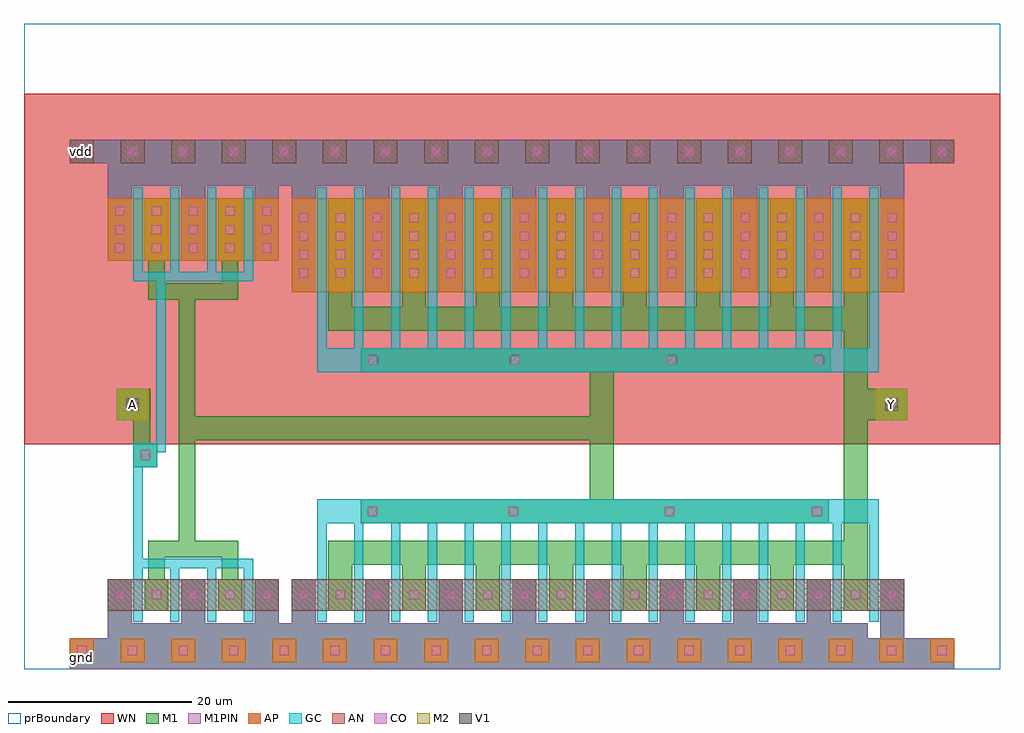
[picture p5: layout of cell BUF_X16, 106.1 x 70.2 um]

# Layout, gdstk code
import gdstk
lib = gdstk.Library(unit=1e-6, precision=1e-09)
def R(c, l, rs):  # rectangles x0, y0, x1, y1
    for r in rs: c.add(gdstk.rectangle(r[:2], r[2:], *l))
def A(c, l, x, y, w, h, nx, ny, dx, dy):  # array of equal rectangles
    R(c, l, [(x+i*dx, y+j*dy, x+i*dx+w, y+j*dy+h) for i in range(nx) for j in range(ny)])
def P(c, l, *ps):  # polygons
    for p in ps: c.add(gdstk.Polygon(p, *l))
AP = (3, 1)
AN = (3, 2)
GC = (8, 1)
CO = (11, 0)
M1 = (13, 0)
V1 = (19, 0)
M2 = (20, 0)
M1PIN = (48, 1)
WN = (140, 0)
prBoundary = (235, 4)

buf_x16 = lib.new_cell('BUF_X16')
A(buf_x16, AP, 5, 0.75, 2.6, 2.6, 18, 1, 5.5, 0)
R(buf_x16, AP, [(29.1,41,95.7,51.2), (9.1,44.4,27.7,51.2)])
A(buf_x16, AN, 5, 55, 2.6, 2.6, 18, 1, 5.5, 0)
R(buf_x16, AN, [(9.1,6.4,27.7,9.8), (29.1,6.4,95.7,9.8)])
P(buf_x16, GC, [(31.9,5.2),(31.9,18.5),(92.9,18.5),(92.9,5.2),(91.9,5.2),(91.9,15.9),(88.9,15.9),(88.9,5.2),(87.9,5.2),(87.9,15.9),(84.9,15.9),(84.9,5.2),(83.9,5.2),(83.9,15.9),(80.9,15.9),(80.9,5.2),(79.9,5.2),(79.9,15.9),(76.9,15.9),(76.9,5.2),(75.9,5.2),(75.9,15.9),(72.9,15.9),(72.9,5.2),(71.9,5.2),(71.9,15.9),(68.9,15.9),(68.9,5.2),(67.9,5.2),(67.9,15.9),(64.9,15.9),(64.9,5.2),(63.9,5.2),(63.9,15.9),(60.9,15.9),(60.9,5.2),(59.9,5.2),(59.9,15.9),(56.9,15.9),(56.9,5.2),(55.9,5.2),(55.9,15.9),(52.9,15.9),(52.9,5.2),(51.9,5.2),(51.9,15.9),(48.9,15.9),(48.9,5.2),(47.9,5.2),(47.9,15.9),(44.9,15.9),(44.9,5.2),(43.9,5.2),(43.9,15.9),(40.9,15.9),(40.9,5.2),(39.9,5.2),(39.9,15.9),(36.9,15.9),(36.9,5.2),(35.9,5.2),(35.9,15.9),(32.9,15.9),(32.9,5.2)],
  [(11.9,5.2),(11.9,24.6),(14.4,24.6),(14.4,42.2),(11.9,42.2),(11.9,52.4),(12.9,52.4),(12.9,43.2),(15.9,43.2),(15.9,52.4),(16.9,52.4),(16.9,43.2),(19.9,43.2),(19.9,52.4),(20.9,52.4),(20.9,43.2),(23.9,43.2),(23.9,52.4),(24.9,52.4),(24.9,42.2),(15.4,42.2),(15.4,23.6),(14.5,23.6),(14.5,22),(12.9,22),(12.9,12),(24.9,12),(24.9,5.2),(23.9,5.2),(23.9,11),(20.9,11),(20.9,5.2),(19.9,5.2),(19.9,11),(16.9,11),(16.9,5.2),(15.9,5.2),(15.9,11),(12.9,11),(12.9,5.2)],
  [(31.9,32.3),(31.9,52.4),(32.9,52.4),(32.9,34.9),(35.9,34.9),(35.9,52.4),(36.9,52.4),(36.9,34.9),(39.9,34.9),(39.9,52.4),(40.9,52.4),(40.9,34.9),(43.9,34.9),(43.9,52.4),(44.9,52.4),(44.9,34.9),(47.9,34.9),(47.9,52.4),(48.9,52.4),(48.9,34.9),(51.9,34.9),(51.9,52.4),(52.9,52.4),(52.9,34.9),(55.9,34.9),(55.9,52.4),(56.9,52.4),(56.9,34.9),(59.9,34.9),(59.9,52.4),(60.9,52.4),(60.9,34.9),(63.9,34.9),(63.9,52.4),(64.9,52.4),(64.9,34.9),(67.9,34.9),(67.9,52.4),(68.9,52.4),(68.9,34.9),(71.9,34.9),(71.9,52.4),(72.9,52.4),(72.9,34.9),(75.9,34.9),(75.9,52.4),(76.9,52.4),(76.9,34.9),(79.9,34.9),(79.9,52.4),(80.9,52.4),(80.9,34.9),(83.9,34.9),(83.9,52.4),(84.9,52.4),(84.9,34.9),(87.9,34.9),(87.9,52.4),(88.9,52.4),(88.9,34.9),(91.9,34.9),(91.9,52.4),(92.9,52.4),(92.9,32.3)])
A(buf_x16, CO, 5.8, 1.55, 1, 1, 18, 2, 5.5, 54.25)
A(buf_x16, CO, 9.9, 7.6, 1, 1, 22, 1, 4, 0)
A(buf_x16, CO, 29.9, 42.6, 1, 1, 17, 4, 4, 2)
A(buf_x16, CO, 9.9, 45.3, 1, 1, 5, 3, 4, 2)
R(buf_x16, CO, [(37.4,16.7,38.4,17.7), (52.7,16.7,53.7,17.7), (69.7,16.7,70.7,17.7), (85.7,16.7,86.7,17.7), (12.7,22.8,13.7,23.8), (37.4,33.1,38.4,34.1), (52.9,33.1,53.9,34.1), (69.9,33.1,70.9,34.1), (85.9,33.1,86.9,34.1)])
R(buf_x16, M1, [(5,2.6,9.1,3.4), (91.7,2.6,93.1,3.4), (95.7,2.6,101.1,3.4)])
P(buf_x16, M1, [(5,0),(5,2.6),(9.1,2.6),(9.1,9.8),(11.7,9.8),(11.7,5),(17.1,5),(17.1,9.8),(19.7,9.8),(19.7,5),(25.1,5),(25.1,9.8),(27.7,9.8),(27.7,5),(29.1,5),(29.1,9.8),(31.7,9.8),(31.7,5),(37.1,5),(37.1,9.8),(39.7,9.8),(39.7,5),(45.1,5),(45.1,9.8),(47.7,9.8),(47.7,5),(53.1,5),(53.1,9.8),(55.7,9.8),(55.7,5),(61.1,5),(61.1,9.8),(63.7,9.8),(63.7,5),(69.1,5),(69.1,9.8),(71.7,9.8),(71.7,5),(77.1,5),(77.1,9.8),(79.7,9.8),(79.7,5),(85.1,5),(85.1,9.8),(87.7,9.8),(87.7,5),(91.7,5),(91.7,2.6),(93.1,2.6),(93.1,9.8),(95.7,9.8),(95.7,2.6),(101.1,2.6),(101.1,0)],
  [(11.9,22),(11.9,27.1),(10.1,27.1),(10.1,30.5),(13.7,30.5),(13.7,24.6),(14.5,24.6),(14.5,22)],
  [(13.1,6.4),(13.1,9.8),(13.5,9.8),(13.5,14),(16.8,14),(16.8,40.2),(13.5,40.2),(13.5,44.4),(13.1,44.4),(13.1,51.2),(15.7,51.2),(15.7,44.4),(15.3,44.4),(15.3,42),(21.5,42),(21.5,44.4),(21.1,44.4),(21.1,51.2),(23.7,51.2),(23.7,44.4),(23.3,44.4),(23.3,40.2),(18.6,40.2),(18.6,27.5),(61.5,27.5),(61.5,32.3),(36.6,32.3),(36.6,34.9),(87.7,34.9),(87.7,32.3),(64.1,32.3),(64.1,18.5),(87.5,18.5),(87.5,15.9),(36.6,15.9),(36.6,18.5),(61.5,18.5),(61.5,24.9),(18.6,24.9),(18.6,14),(23.3,14),(23.3,9.8),(23.7,9.8),(23.7,6.4),(21.1,6.4),(21.1,9.8),(21.5,9.8),(21.5,12.2),(15.3,12.2),(15.3,9.8),(15.7,9.8),(15.7,6.4)],
  [(33.1,6.4),(33.1,14),(89.1,14),(89.1,36.8),(33.1,36.8),(33.1,51.2),(35.7,51.2),(35.7,39.4),(41.1,39.4),(41.1,51.2),(43.7,51.2),(43.7,39.4),(49.1,39.4),(49.1,51.2),(51.7,51.2),(51.7,39.4),(57.1,39.4),(57.1,51.2),(59.7,51.2),(59.7,39.4),(65.1,39.4),(65.1,51.2),(67.7,51.2),(67.7,39.4),(73.1,39.4),(73.1,51.2),(75.7,51.2),(75.7,39.4),(81.1,39.4),(81.1,51.2),(83.7,51.2),(83.7,39.4),(89.1,39.4),(89.1,51.2),(91.7,51.2),(91.7,30.5),(96,30.5),(96,27.1),(91.7,27.1),(91.7,6.4),(89.1,6.4),(89.1,11.4),(83.7,11.4),(83.7,6.4),(81.1,6.4),(81.1,11.4),(75.7,11.4),(75.7,6.4),(73.1,6.4),(73.1,11.4),(67.7,11.4),(67.7,6.4),(65.1,6.4),(65.1,11.4),(59.7,11.4),(59.7,6.4),(57.1,6.4),(57.1,11.4),(51.7,11.4),(51.7,6.4),(49.1,6.4),(49.1,11.4),(43.7,11.4),(43.7,6.4),(41.1,6.4),(41.1,11.4),(35.7,11.4),(35.7,6.4)],
  [(29.1,41),(29.1,52.6),(27.7,52.6),(27.7,44.4),(25.1,44.4),(25.1,52.6),(19.7,52.6),(19.7,44.4),(17.1,44.4),(17.1,52.6),(11.7,52.6),(11.7,44.4),(9.1,44.4),(9.1,55),(5,55),(5,57.6),(101.1,57.6),(101.1,55),(95.7,55),(95.7,41),(93.1,41),(93.1,52.6),(87.7,52.6),(87.7,41),(85.1,41),(85.1,52.6),(79.7,52.6),(79.7,41),(77.1,41),(77.1,52.6),(71.7,52.6),(71.7,41),(69.1,41),(69.1,52.6),(63.7,52.6),(63.7,41),(61.1,41),(61.1,52.6),(55.7,52.6),(55.7,41),(53.1,41),(53.1,52.6),(47.7,52.6),(47.7,41),(45.1,41),(45.1,52.6),(39.7,52.6),(39.7,41),(37.1,41),(37.1,52.6),(31.7,52.6),(31.7,41)])
R(buf_x16, V1, [(11.1,28.1,12.5,29.5), (93.6,28.1,95,29.5)])
R(buf_x16, M2, [(10.1,27.1,13.5,30.5), (92.6,27.1,96,30.5)])
A(buf_x16, M1PIN, 9.1, 5, 2.6, 4.8, 3, 1, 8, 0)
A(buf_x16, M1PIN, 29.1, 5, 2.6, 4.8, 8, 1, 8, 0)
A(buf_x16, M1PIN, 29.1, 41, 2.6, 11.6, 9, 1, 8, 0)
A(buf_x16, M1PIN, 9.1, 44.4, 2.6, 8.2, 3, 1, 8, 0)
R(buf_x16, M1PIN, [(5,0,101.1,3.4), (9.1,3.4,91.7,5), (93.1,3.4,95.7,9.8), (9.1,52.6,95.7,55), (5,55,101.1,57.6)])
R(buf_x16, WN, [(0,24.5,106.1,62.6)])
R(buf_x16, prBoundary, [(0,0,106.1,70.2)])
buf_x16.add(gdstk.Label('A', (11.8,28.8), layer=49, texttype=0))
buf_x16.add(gdstk.Label('Y', (94.3,28.8), layer=49, texttype=0))
buf_x16.add(gdstk.Label('vdd', (6.3,56.3), layer=48, texttype=0))
buf_x16.add(gdstk.Label('Y', (94.3,28.8), layer=48, texttype=0))
buf_x16.add(gdstk.Label('A', (11.8,28.8), layer=48, texttype=0))
buf_x16.add(gdstk.Label('A', (11.8,28.8), layer=48, texttype=0))
buf_x16.add(gdstk.Label('gnd', (6.3,1.3), layer=48, texttype=0))

lib.write_gds('BUF_X16.gds')
